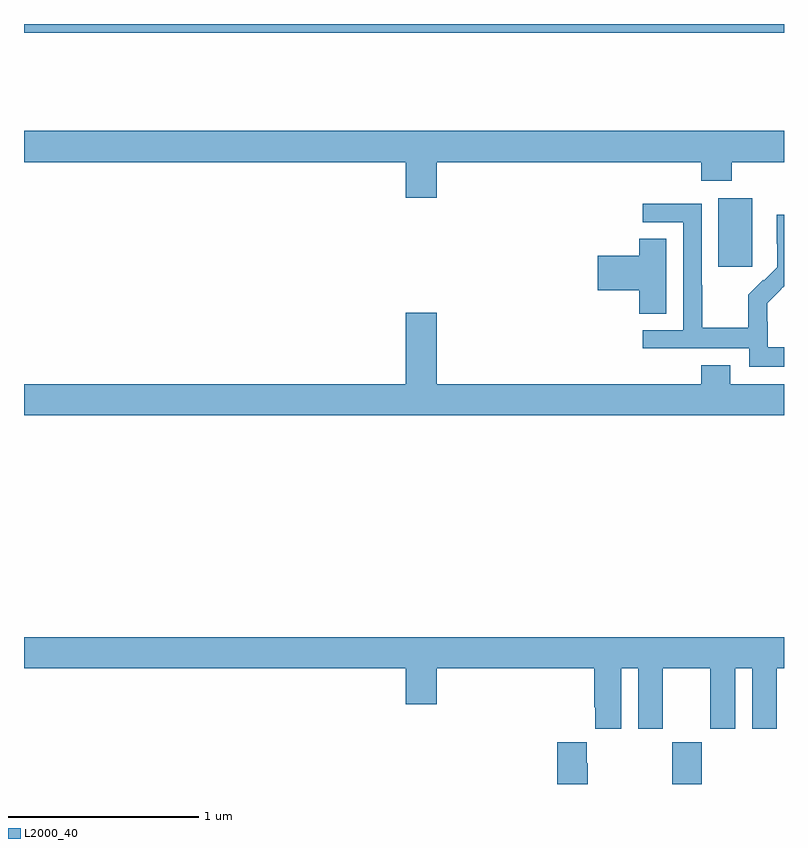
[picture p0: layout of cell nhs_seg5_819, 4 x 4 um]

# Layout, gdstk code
import gdstk
lib = gdstk.Library(unit=1e-6, precision=1e-09)
def R(c, l, rs):  # rectangles x0, y0, x1, y1
    for r in rs: c.add(gdstk.rectangle(r[:2], r[2:], *l))
def P(c, l, *ps):  # polygons
    for p in ps: c.add(gdstk.Polygon(p, *l))
L2000_40 = (2000, 40)

nhs_seg5_819 = lib.new_cell('nhs_seg5_819')
R(nhs_seg5_819, L2000_40, [(166.411,874.799,166.566,875.02), (166.655,877.521,166.834,877.882), (163,878.752,167,878.799)])
P(nhs_seg5_819, L2000_40, [(165.172,878.072),(166.565,878.072),(166.565,877.973),(166.725,877.973),(166.725,878.072),(167,878.072),(167,878.236),(163,878.236),(163,878.072),(165.008,878.072),(165.008,877.884),(165.172,877.884)],
  [(167,877.099),(166.914,877.099),(166.914,877.233),(166.912,877.233),(166.912,877.33),(166.986,877.404),(166.985,877.405),(167,877.42),(167,877.796),(166.962,877.796),(166.962,877.642),(166.964,877.642),(166.964,877.52),(166.893,877.449),(166.89,877.452),(166.813,877.375),(166.813,877.201),(166.569,877.201),(166.569,877.424),(166.566,877.424),(166.566,877.854),(166.257,877.854),(166.257,877.755),(166.47,877.755),(166.47,877.188),(166.257,877.188),(166.257,877.092),(166.818,877.092),(166.818,876.995),(167,876.995)],
  [(166.381,877.67),(166.238,877.67),(166.238,877.58),(166.02,877.58),(166.02,877.397),(166.238,877.397),(166.238,877.273),(166.381,877.273)],
  [(167,876.904),(166.717,876.904),(166.717,877.003),(166.565,877.003),(166.565,876.904),(165.172,876.904),(165.172,877.279),(165.008,877.279),(165.008,876.904),(163,876.904),(163,876.74),(167,876.74)],
  [(166.144,875.408),(166.232,875.408),(166.232,875.091),(166.363,875.091),(166.363,875.408),(166.613,875.408),(166.613,875.091),(166.744,875.091),(166.744,875.408),(166.832,875.408),(166.832,875.091),(166.963,875.091),(166.963,875.408),(167,875.408),(167,875.572),(163,875.572),(163,875.408),(165.008,875.408),(165.008,875.22),(165.172,875.22),(165.172,875.408),(166.001,875.408),(166.001,875.203),(166.007,875.203),(166.007,875.091),(166.144,875.091)],
  [(165.966,874.907),(165.961,874.907),(165.961,875.02),(165.806,875.02),(165.806,874.799),(165.966,874.799)])

lib.write_gds('nhs_seg5_819.gds')
